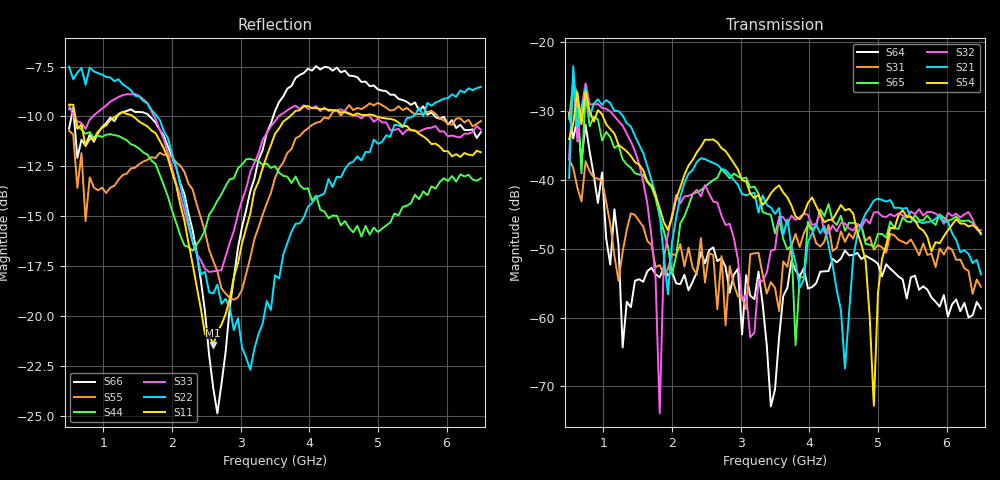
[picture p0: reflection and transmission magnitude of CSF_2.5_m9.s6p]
!Keysight Technologies,M9804A,MY58100912,A.14.10.03
!Date: Thursday, April 27, 2023 10:28:33
!Correction: S11(C  6-Port  )
!S12(C  6-Port  )
!S13(C  6-Port  )
!S14(C  6-Port  )
!S15(C  6-Port  )
!S16(C  6-Port  )
!S21(C  6-Port  )
!S22(C  6-Port  )
!S23(C  6-Port  )
!S24(C  6-Port  )
!S25(C  6-Port  )
!S26(C  6-Port  )
!S31(C  6-Port  )
!S32(C  6-Port  )
!S33(C  6-Port  )
!S34(C  6-Port  )
!S35(C  6-Port  )
!S36(C  6-Port  )
!S41(C  6-Port  )
!S42(C  6-Port  )
!S43(C  6-Port  )
!S44(C  6-Port  )
!S45(C  6-Port  )
!S46(C  6-Port  )
!S51(C  6-Port  )
!S52(C  6-Port  )
!S53(C  6-Port  )
!S54(C  6-Port  )
!S55(C  6-Port  )
!S56(C  6-Port  )
!S61(C  6-Port  )
!S62(C  6-Port  )
!S63(C  6-Port  )
!S64(C  6-Port  )
!S65(C  6-Port  )
!S66(C  6-Port  )
!S6P File: Measurement: :
# Hz S  RI  R 50
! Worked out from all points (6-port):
!   101 points, 500 MHz to 6.5 GHz, reference 50 ohm
!   strongest paths, dB at 500 MHz, 2 GHz, 3.5 GHz, 5 GHz, 6.5 GHz:
!     S54: -34.1, -45.4, -41.3, -56.5, -47.8
!     S21: -39.7, -49.1, -45.0, -42.8, -53.7
!     S32: -36.9, -45.1, -50.1, -44.7, -47.3
!     S65: -31.2, -53.7, -47.8, -47.8, -47.9
!     S31: -37.1, -50.8, -55.7, -49.5, -55.5
!     S64: -30.3, -53.4, -70.4, -52.2, -58.7
!   lowest |S11| = -21.4 dB at 2.6 GHz (marker M1), VSWR 1.19, Z = 42.5 + j2.2 ohm
!   |S11| at or under -10 dB: 589.2 MHz to 1.174 GHz (585.3 MHz wide, 66.4 % of centre); 1.433 GHz to 3.716 GHz (2.283 GHz wide, 88.7 % of centre); 4.981 GHz to end of sweep
